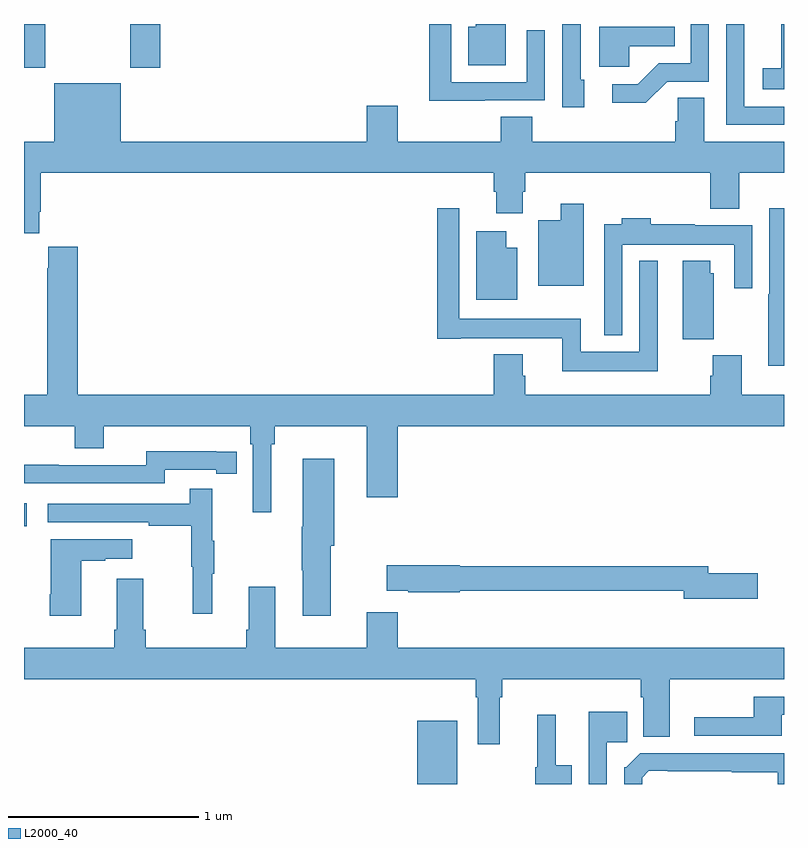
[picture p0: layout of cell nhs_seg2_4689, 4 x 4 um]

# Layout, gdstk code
import gdstk
lib = gdstk.Library(unit=1e-6, precision=1e-09)
def R(c, l, rs):  # rectangles x0, y0, x1, y1
    for r in rs: c.add(gdstk.rectangle(r[:2], r[2:], *l))
def P(c, l, *ps):  # polygons
    for p in ps: c.add(gdstk.Polygon(p, *l))
L2000_40 = (2000, 40)

nhs_seg2_4689 = lib.new_cell('nhs_seg2_4689')
R(nhs_seg2_4689, L2000_40, [(369.071,597.8,369.28,598.132), (367,599.157,367.015,599.278), (367,601.569,367.113,601.8), (367.558,601.569,367.718,601.8)])
P(nhs_seg2_4689, L2000_40, [(369.535,601.8),(369.377,601.8),(369.377,601.786),(369.338,601.786),(369.338,601.583),(369.535,601.583)],
  [(369.425,601.398),(369.741,601.398),(369.741,601.768),(369.645,601.768),(369.645,601.494),(369.249,601.494),(369.249,601.8),(369.133,601.8),(369.133,601.397),(369.425,601.397)],
  [(371,601.365),(370.791,601.365),(370.791,601.8),(370.695,601.8),(370.695,601.269),(371,601.269)],
  [(369.949,601.506),(369.93,601.506),(369.93,601.8),(369.834,601.8),(369.834,601.362),(369.949,601.362)],
  [(371,601.8),(370.986,601.8),(370.986,601.796),(370.985,601.796),(370.985,601.567),(370.887,601.567),(370.887,601.457),(371,601.457)],
  [(370.386,601.497),(370.605,601.497),(370.605,601.8),(370.509,601.8),(370.509,601.593),(370.34,601.593),(370.229,601.482),(370.095,601.482),(370.095,601.385),(370.273,601.385)],
  [(370.185,601.682),(370.424,601.682),(370.424,601.786),(370.028,601.786),(370.028,601.574),(370.185,601.574)],
  [(367.081,600.811),(367.088,600.811),(367.088,601.016),(369.473,601.016),(369.473,600.918),(369.485,600.918),(369.485,600.804),(369.625,600.804),(369.625,600.918),(369.638,600.918),(369.638,601.016),(370.613,601.016),(370.613,600.827),(370.765,600.827),(370.765,601.016),(371,601.016),(371,601.18),(370.579,601.18),(370.579,601.412),(370.44,601.412),(370.44,601.289),(370.427,601.289),(370.427,601.18),(369.674,601.18),(369.674,601.313),(369.509,601.313),(369.509,601.18),(368.968,601.18),(368.968,601.369),(368.804,601.369),(368.804,601.18),(367.51,601.18),(367.51,601.489),(367.16,601.489),(367.16,601.18),(367,601.18),(367,600.699),(367.081,600.699)],
  [(369.946,600.853),(369.824,600.853),(369.824,600.766),(369.707,600.766),(369.707,600.422),(369.946,600.422)],
  [(371,600.829),(370.923,600.829),(370.923,600.378),(370.916,600.378),(370.916,600.002),(371,600.002)],
  [(370.336,600.553),(370.239,600.553),(370.239,600.076),(369.93,600.076),(369.93,600.25),(369.291,600.25),(369.291,600.829),(369.175,600.829),(369.175,600.144),(369.298,600.144),(369.298,600.146),(369.833,600.146),(369.833,599.972),(370.336,599.972)],
  [(370.149,600.638),(370.737,600.638),(370.737,600.408),(370.833,600.408),(370.833,600.742),(370.529,600.742),(370.529,600.745),(370.298,600.745),(370.298,600.778),(370.145,600.778),(370.145,600.745),(370.053,600.745),(370.053,600.161),(370.149,600.161)],
  [(369.595,600.622),(369.538,600.622),(369.538,600.709),(369.38,600.709),(369.38,600.35),(369.595,600.35)],
  [(368.302,599.588),(368.321,599.588),(368.321,599.684),(368.804,599.684),(368.804,599.31),(368.968,599.31),(368.968,599.684),(371,599.684),(371,599.848),(370.778,599.848),(370.778,600.057),(370.625,600.057),(370.625,599.948),(370.613,599.948),(370.613,599.848),(369.638,599.848),(369.638,599.949),(369.625,599.949),(369.625,600.061),(369.473,600.061),(369.473,599.848),(367.283,599.848),(367.283,600.628),(367.127,600.628),(367.127,600.515),(367.123,600.515),(367.123,599.848),(367,599.848),(367,599.684),(367.268,599.684),(367.268,599.567),(367.42,599.567),(367.42,599.684),(368.192,599.684),(368.192,599.588),(368.205,599.588),(368.205,599.229),(368.302,599.229)],
  [(370.63,600.489),(370.612,600.489),(370.612,600.553),(370.466,600.553),(370.466,600.142),(370.63,600.142)],
  [(367.74,599.454),(368.012,599.454),(368.012,599.434),(368.12,599.434),(368.12,599.55),(368.012,599.55),(368.012,599.551),(367.644,599.551),(367.644,599.478),(367.184,599.478),(367.184,599.48),(367,599.48),(367,599.382),(367.74,599.382)],
  [(368.614,599.054),(368.632,599.054),(368.632,599.512),(368.468,599.512),(368.468,599.154),(368.461,599.154),(368.461,598.924),(368.468,598.924),(368.468,598.686),(368.614,598.686)],
  [(367.991,598.907),(368.002,598.907),(368.002,599.081),(367.991,599.081),(367.991,599.353),(367.873,599.353),(367.873,599.274),(367.125,599.274),(367.125,599.178),(367.657,599.178),(367.657,599.158),(367.881,599.158),(367.881,598.944),(367.888,598.944),(367.888,598.695),(367.991,598.695)],
  [(367.3,598.975),(367.427,598.975),(367.427,598.985),(367.57,598.985),(367.57,599.089),(367.142,599.089),(367.142,598.798),(367.135,598.798),(367.135,598.686),(367.3,598.686)],
  [(370.861,598.91),(370.6,598.91),(370.6,598.946),(369.294,598.946),(369.294,598.952),(368.91,598.952),(368.91,598.817),(369.022,598.817),(369.022,598.81),(369.294,598.81),(369.294,598.818),(370.472,598.818),(370.472,598.775),(370.861,598.775)],
  [(369.377,598.256),(369.389,598.256),(369.389,598.008),(369.505,598.008),(369.505,598.256),(369.518,598.256),(369.518,598.352),(370.247,598.352),(370.247,598.256),(370.259,598.256),(370.259,598.048),(370.399,598.048),(370.399,598.352),(371,598.352),(371,598.516),(368.968,598.516),(368.968,598.705),(368.804,598.705),(368.804,598.516),(368.323,598.516),(368.323,598.837),(368.183,598.837),(368.183,598.612),(368.171,598.612),(368.171,598.516),(367.64,598.516),(367.64,598.612),(367.627,598.612),(367.627,598.879),(367.487,598.879),(367.487,598.612),(367.475,598.612),(367.475,598.516),(367,598.516),(367,598.352),(369.377,598.352)],
  [(370.987,598.164),(371,598.164),(371,598.26),(370.84,598.26),(370.84,598.151),(370.527,598.151),(370.527,598.053),(370.987,598.053)],
  [(370.068,598.02),(370.174,598.02),(370.174,598.18),(369.972,598.18),(369.972,597.8),(370.068,597.8)],
  [(369.883,597.9),(369.799,597.9),(369.799,598.165),(369.701,598.165),(369.701,597.888),(369.69,597.888),(369.69,597.8),(369.883,597.8)],
  [(370.253,597.834),(370.288,597.87),(370.387,597.87),(370.387,597.867),(370.726,597.867),(370.726,597.862),(370.968,597.862),(370.968,597.8),(371,597.8),(371,597.963),(370.244,597.963),(370.169,597.888),(370.158,597.888),(370.158,597.8),(370.253,597.8)])

lib.write_gds('nhs_seg2_4689.gds')
